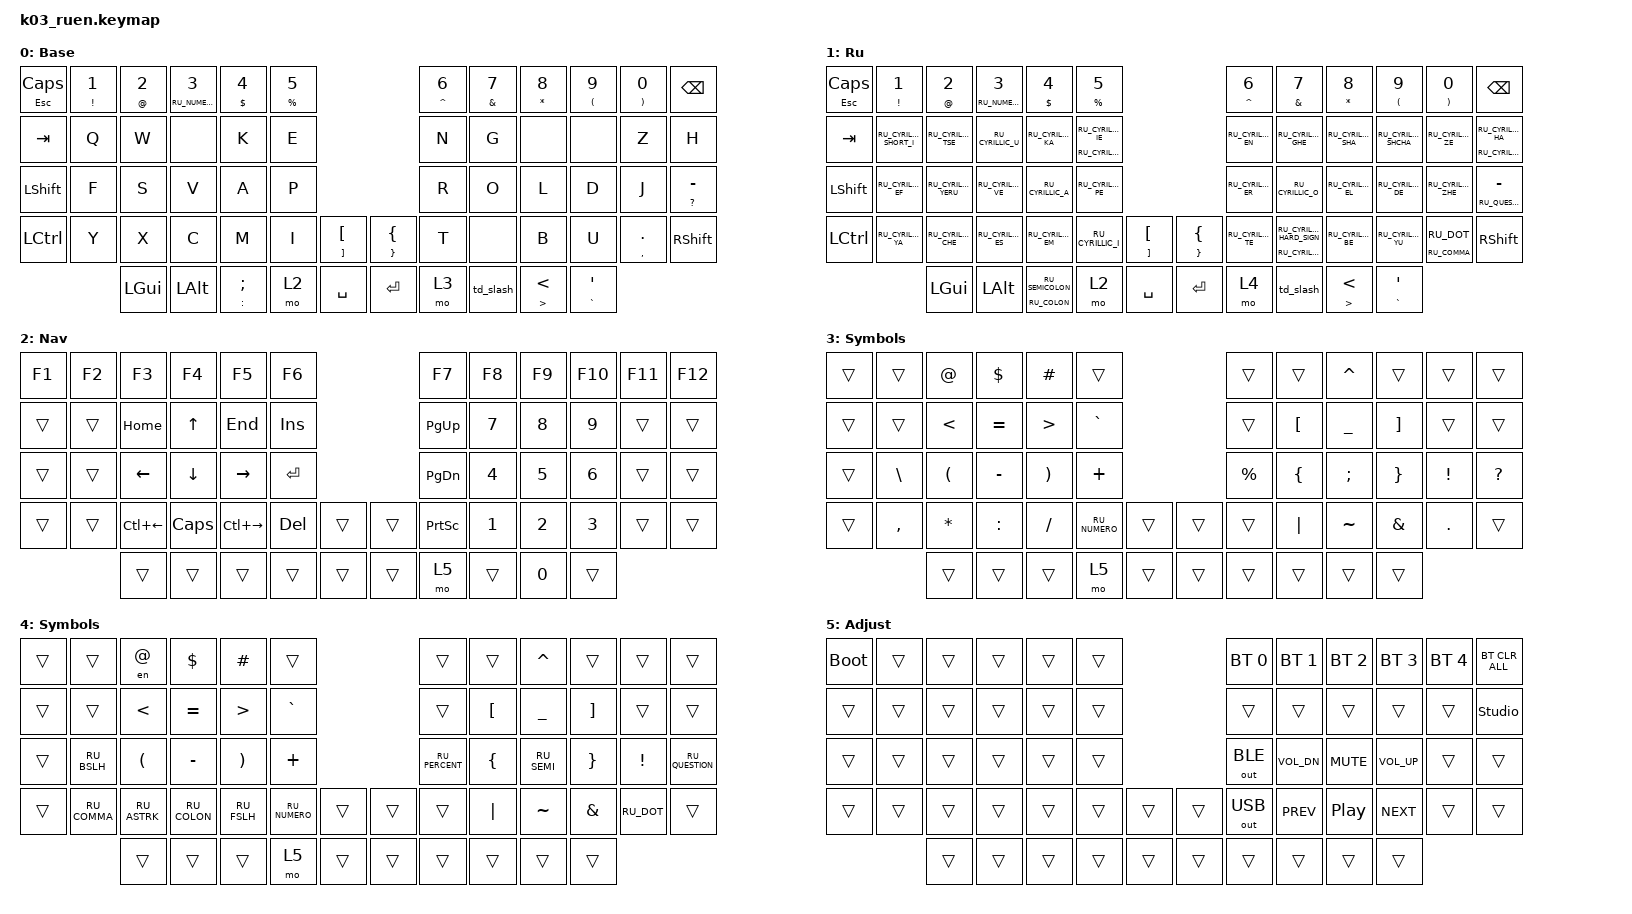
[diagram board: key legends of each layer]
#include "keys_ru.h"
#include <behaviors.dtsi>
#include <dt-bindings/zmk/bt.h>
#include <dt-bindings/zmk/keys.h>
#include <dt-bindings/zmk/outputs.h>

/ {
    behaviors {
        enc_vol: enc_vol {
            compatible = "zmk,behavior-sensor-rotate";
            label = "ENC_VOL";
            #sensor-binding-cells = <0>;
            bindings = <&kp C_VOL_UP>, <&kp C_VOL_DN>;
        };

        td_slash: td_slash {
            compatible = "zmk,behavior-tap-dance";
            label = "TD_SLASH";
            #binding-cells = <0>;
            bindings = <&kp NUBS>, <&kp PIPE>, <&kp FSLH>;
        };
    };

    combos {
        compatible = "zmk,combos";

        cmben {
            bindings = <&layer_en>;
            key-positions = <15 16>;
            layers = <1>;
        };

        cmbru {
            bindings = <&layer_ru>;
            key-positions = <15 16>;
            layers = <0>;
        };
    };

    macros {
        to_ru: to_ru {
            compatible = "zmk,behavior-macro";
            #binding-cells = <0>;
            bindings = <&kp LS(LC(N2))>;
            label = "TO_RU";
            wait-ms = <0>;
            tap-ms = <30>;
        };

        to_en: to_en {
            compatible = "zmk,behavior-macro";
            #binding-cells = <0>;
            bindings = <&kp LS(LC(N1))>;
            label = "TO_EN";
            wait-ms = <0>;
            tap-ms = <30>;
        };

        layer_en: layer_en {
            compatible = "zmk,behavior-macro";
            #binding-cells = <0>;
            bindings = <&to 0 &to_en>;
            label = "LAYER_EN";
            wait-ms = <0>;
            tap-ms = <30>;
        };

        layer_ru: layer_ru {
            compatible = "zmk,behavior-macro";
            #binding-cells = <0>;
            bindings = <&to 1 &to_ru>;
            label = "LAYER_RU";
            tap-ms = <30>;
            wait-ms = <0>;
        };

        en: en {
            compatible = "zmk,behavior-macro-one-param";
            #binding-cells = <1>;
            bindings =
                <&to_en>,
                <&macro_press>,
                <&macro_param_1to1 &kp MACRO_PLACEHOLDER>,
                <&macro_pause_for_release>,
                <&macro_release>,
                <&macro_param_1to1 &kp MACRO_PLACEHOLDER>,
                <&macro_tap>,
                <&to_ru>;

            label = "EN";
            wait-ms = <0>;
            tap-ms = <30>;
        };
    };

    keymap {
        compatible = "zmk,keymap";

        en {
            bindings = <
&mt ESC CAPS      &mt EXCLAMATION N1  &mt AT_SIGN NUMBER_2  &mt RU_NUMERO NUMBER_3  &mt DOLLAR NUMBER_4  &mt PERCENT NUMBER_5                                                                &mt CARET N6  &mt AMPERSAND N7  &mt ASTRK N8                &mt LEFT_PARENTHESIS N9  &mt RIGHT_PARENTHESIS NUMBER_0  &kp BSPC
&kp TAB           &kp Q               &kp W                 &none                   &kp K                &kp E                                                                               &kp N         &kp G             &none                       &none                    &kp Z                           &kp H
&kp LEFT_SHIFT    &kp F               &kp S                 &kp V                   &kp A                &kp P                                                                               &kp R         &kp O             &kp L                       &kp D                    &kp J                           &mt QUESTION MINUS
&kp LEFT_CONTROL  &kp Y               &kp X                 &kp C                   &kp M                &kp I                 &mt RIGHT_BRACKET LEFT_BRACKET    &mt RIGHT_BRACE LEFT_BRACE  &kp T         &none             &kp B                       &kp U                    &mt COMMA DOT                   &kp RSHFT
                                      &kp LGUI              &kp LALT                &mt COLON SEMICOLON  &mo 2                 &kp SPACE                         &kp ENTER                   &mo 3         &td_slash         &mt GREATER_THAN LESS_THAN  &mt GRAVE SQT
            >;

            display-name = "Base";
        };

        ru {
            display-name = "Ru";
            bindings = <
&mt ESC CAPS      &mt EXCLAMATION N1       &mt AT NUMBER_2       &mt RU_NUMERO NUMBER_3  &mt DLLR NUMBER_4          &mt PERCENT NUMBER_5                                               &mt CARET N6        &mt AMPS N7                                      &mt ASTRK N8         &mt LEFT_PARENTHESIS N9  &mt RIGHT_PARENTHESIS N0  &kp BSPC
&kp TAB           &kp RU_CYRILLIC_SHORT_I  &kp RU_CYRILLIC_TSE   &kp RU_CYRILLIC_U       &kp RU_CYRILLIC_KA         &mt RU_CYRILLIC_IO RU_CYRILLIC_IE                                  &kp RU_CYRILLIC_EN  &kp RU_CYRILLIC_GHE                              &kp RU_CYRILLIC_SHA  &kp RU_CYRILLIC_SHCHA    &kp RU_CYRILLIC_ZE        &mt RU_CYRILLIC_E RU_CYRILLIC_HA
&kp LEFT_SHIFT    &kp RU_CYRILLIC_EF       &kp RU_CYRILLIC_YERU  &kp RU_CYRILLIC_VE      &kp RU_CYRILLIC_A          &kp RU_CYRILLIC_PE                                                 &kp RU_CYRILLIC_ER  &kp RU_CYRILLIC_O                                &kp RU_CYRILLIC_EL   &kp RU_CYRILLIC_DE       &kp RU_CYRILLIC_ZHE       &mt RU_QUESTION MINUS
&kp LEFT_CONTROL  &kp RU_CYRILLIC_YA       &kp RU_CYRILLIC_CHE   &kp RU_CYRILLIC_ES      &kp RU_CYRILLIC_EM         &kp RU_CYRILLIC_I                  &mt RBKT LBKT    &mt RBRC LBRC  &kp RU_CYRILLIC_TE  &mt RU_CYRILLIC_SOFT_SIGN RU_CYRILLIC_HARD_SIGN  &kp RU_CYRILLIC_BE   &kp RU_CYRILLIC_YU       &mt RU_COMMA RU_DOT       &kp RSHFT
                                           &kp LGUI              &kp LALT                &mt RU_COLON RU_SEMICOLON  &mo 2                              &kp SPACE        &kp ENTER      &mo 4               &td_slash                                        &mt GT LT            &mt GRAVE SQT
            >;
        };

        nav {
            bindings = <
&kp F1  &kp F2  &kp F3        &kp F4    &kp F5         &kp F6                     &kp F7           &kp F8  &kp F9  &kp F10  &kp F11  &kp F12
&trans  &trans  &kp HOME      &kp UP    &kp END        &kp INS                    &kp PG_UP        &kp N7  &kp N8  &kp N9   &trans   &trans
&trans  &trans  &kp LEFT      &kp DOWN  &kp RIGHT      &kp RET                    &kp PG_DN        &kp N4  &kp N5  &kp N6   &trans   &trans
&trans  &trans  &kp LC(LEFT)  &kp CAPS  &kp LC(RIGHT)  &kp DEL  &trans    &trans  &kp PRINTSCREEN  &kp N1  &kp N2  &kp N3   &trans   &trans
                &trans        &trans    &trans         &trans   &trans    &trans  &mo 5            &trans  &kp N0  &trans
            >;

            display-name = "Nav";
        };

        sym_en {
            bindings = <
&trans  &trans     &kp AT    &kp DLLR   &kp HASH  &trans                           &trans     &trans    &kp CARET  &trans    &trans    &trans
&trans  &trans     &kp LT    &kp EQUAL  &kp GT    &kp GRAVE                        &trans     &kp LBKT  &kp UNDER  &kp RBKT  &trans    &trans
&trans  &kp BSLH   &kp LPAR  &kp MINUS  &kp RPAR  &kp PLUS                         &kp PRCNT  &kp LBRC  &kp SEMI   &kp RBRC  &kp EXCL  &kp QUESTION
&trans  &kp COMMA  &kp STAR  &kp COLON  &kp FSLH  &kp RU_NUMERO  &trans    &trans  &trans     &kp PIPE  &kp TILDE  &kp AMPS  &kp DOT   &trans
                   &trans    &trans     &trans    &mo 5          &trans    &trans  &trans     &trans    &trans     &trans
            >;

            display-name = "Symbols";
        };

        sym_ru {
            display-name = "Symbols";
            bindings = <
&trans  &trans        &en AT_SIGN   &kp DLLR      &kp HASH     &trans                           &trans          &trans    &kp CARET    &trans    &trans      &trans
&trans  &trans        &kp LT        &kp EQUAL     &kp GT       &kp GRAVE                        &trans          &kp LBKT  &kp UNDER    &kp RBKT  &trans      &trans
&trans  &kp RU_BSLH   &kp LPAR      &kp MINUS     &kp RPAR     &kp PLUS                         &kp RU_PERCENT  &kp LBRC  &kp RU_SEMI  &kp RBRC  &kp EXCL    &kp RU_QUESTION
&trans  &kp RU_COMMA  &kp RU_ASTRK  &kp RU_COLON  &kp RU_FSLH  &kp RU_NUMERO  &trans    &trans  &trans          &kp PIPE  &kp TILDE    &kp AMPS  &kp RU_DOT  &trans
                      &trans        &trans        &trans       &mo 5          &trans    &trans  &trans          &trans    &trans       &trans
            >;
        };

        adj {
            bindings = <
&bootloader  &trans  &trans  &trans  &trans  &trans                    &bt BT_SEL 0  &bt BT_SEL 1  &bt BT_SEL 2      &bt BT_SEL 3  &bt BT_SEL 4  &bt BT_CLR_ALL
&trans       &trans  &trans  &trans  &trans  &trans                    &trans        &trans        &trans            &trans        &trans        &studio_unlock
&trans       &trans  &trans  &trans  &trans  &trans                    &out OUT_BLE  &kp C_VOL_DN  &kp C_MUTE        &kp C_VOL_UP  &trans        &trans
&trans       &trans  &trans  &trans  &trans  &trans  &trans    &trans  &out OUT_USB  &kp C_PREV    &kp C_PLAY_PAUSE  &kp C_NEXT    &trans        &trans
                     &trans  &trans  &trans  &trans  &trans    &trans  &trans        &trans        &trans            &trans
            >;

            display-name = "Adjust";
        };
    };
};
